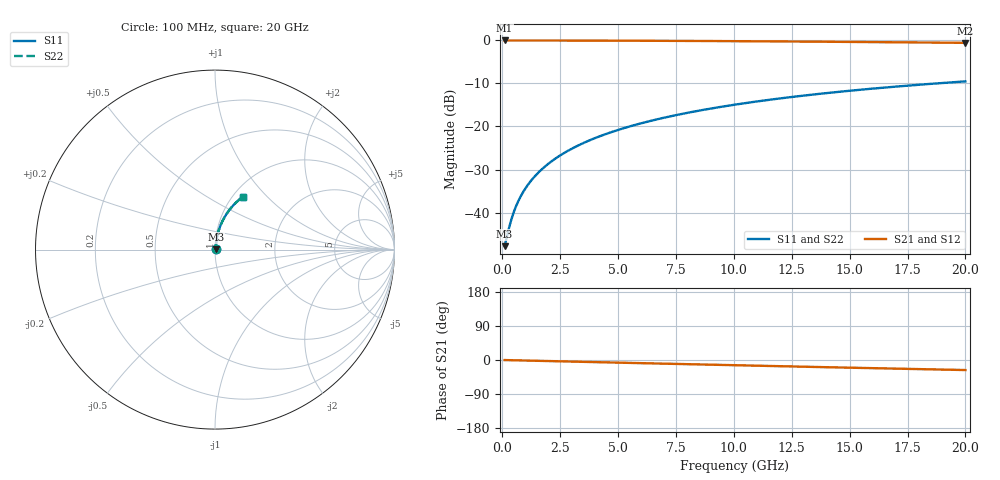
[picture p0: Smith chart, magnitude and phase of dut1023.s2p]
! Touchstone file exported from HFSS 2026.1.0
!  File:  C:/ffzhzh/LocalFiles/Ansys_Project_Files/temp_train_BSMRDL_1023_1783173479_18472.aedt
!  Generated:  09:59:14 PM Jul  4, 2026
!  Design:  BSMRDL
!  Project:  temp_train_BSMRDL_1023_1783173479_18472
! Variables:
!  h_bsmrdl = 2.31um
!  h_ox = 20um
!  h_rdl = 5um
!  h_sub = 80um
!  h_tmrdl = 5um
!  h_tsv = 80um
!  h_via = 3um
!  l_bsmrdl = 286.27um
!  l_sub = 686.27um
!  l_tmrdl = 200um
!  m_sub = 200um
!  pitch = 50.69um
!  r_tsv = 6um
!  s_tmrdl = 10um
!  w_bsmrdl = 13.02um
!  w_sub = 500um
!  w_tmrdl = 12um
!  x_tsv_center1 = 206um
!  x_tsv_center2 = 505.29um
!  x_tsv_center3 = 717.29um
!  x_tsv_center4 = 1016.58um
!  x_tsv_center5 = 1228.58um
!  x_tsv_center6 = 1527.87um
# GHz S MA R 50.000000
! Terminal data exported
! Port[1] = BSM_RDL1_1_T1
! Port[2] = BSM_RDL1_1_T2
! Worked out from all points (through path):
!   200 points, 100 MHz to 20 GHz, reference 50 ohm
!   highest |S21| = -0.03 dB at 100 MHz (marker M1); lowest = -0.6 dB at 20 GHz (marker M2)
!   group delay of S21, straight-line fit = 3.69 ps
!   lowest |S11| = -47.8 dB at 100 MHz (marker M3), VSWR 1.01, Z = 50.4 + j0.192 ohm
!   |S11| at or under -10 dB: start of sweep to 18.78 GHz
!   |S22| runs from -47.8 to -9.5 dB; largest |S21 - S12| = 3.4e-15
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0.1  0.004073 27.9  0.9964 -0.1  0.9964 -0.1  0.004073 27.9
! Gamma 0 0 0 0
! Port Impedance 50 0 50 0
0.3  0.006787 56.9  0.9963 -0.4  0.9963 -0.4  0.006787 56.9
0.4  0.008456 63.4  0.9963 -0.6  0.9963 -0.6  0.008456 63.4
0.5  0.01019 67.6  0.9962 -0.7  0.9962 -0.7  0.01019 67.6
0.6  0.01196 70.5  0.9961 -0.9  0.9961 -0.9  0.01196 70.5
0.7  0.01374 72.6  0.996 -1.0  0.996 -1.0  0.01374 72.6
0.9  0.01731 75.5  0.9959 -1.3  0.9959 -1.3  0.01731 75.5
1.2  0.02269 77.9  0.9957 -1.7  0.9957 -1.7  0.02269 77.9
1.4  0.02629 78.9  0.9955 -2.0  0.9955 -2.0  0.02629 78.9
1.7  0.03169 79.9  0.9953 -2.4  0.9953 -2.4  0.03169 79.9
2.2  0.0407 80.8  0.9949 -3.1  0.9949 -3.1  0.0407 80.8
2.8  0.05153 81.2  0.9943 -3.9  0.9943 -3.9  0.05153 81.2
3.5  0.06416 81.1  0.9934 -4.9  0.9934 -4.9  0.06416 81.1
4.2  0.07675 80.7  0.9924 -5.9  0.9924 -5.9  0.07675 80.7
5  0.09109 80.0  0.9911 -7.0  0.9911 -7.0  0.09109 80.0
5.9  0.1071 79.2  0.9893 -8.2  0.9893 -8.2  0.1071 79.2
6.8  0.123 78.2  0.9873 -9.4  0.9873 -9.4  0.123 78.2
8.3  0.1492 76.4  0.9834 -11.5  0.9834 -11.5  0.1492 76.4
10.1  0.18 74.2  0.9778 -13.9  0.9778 -13.9  0.18 74.2
13.4  0.2344 70.1  0.9655 -18.2  0.9655 -18.2  0.2344 70.1
16.7  0.2857 66.1  0.9509 -22.5  0.9509 -22.5  0.2857 66.0
20  0.3336 62.1  0.9346 -26.5  0.9346 -26.5  0.3336 62.1
